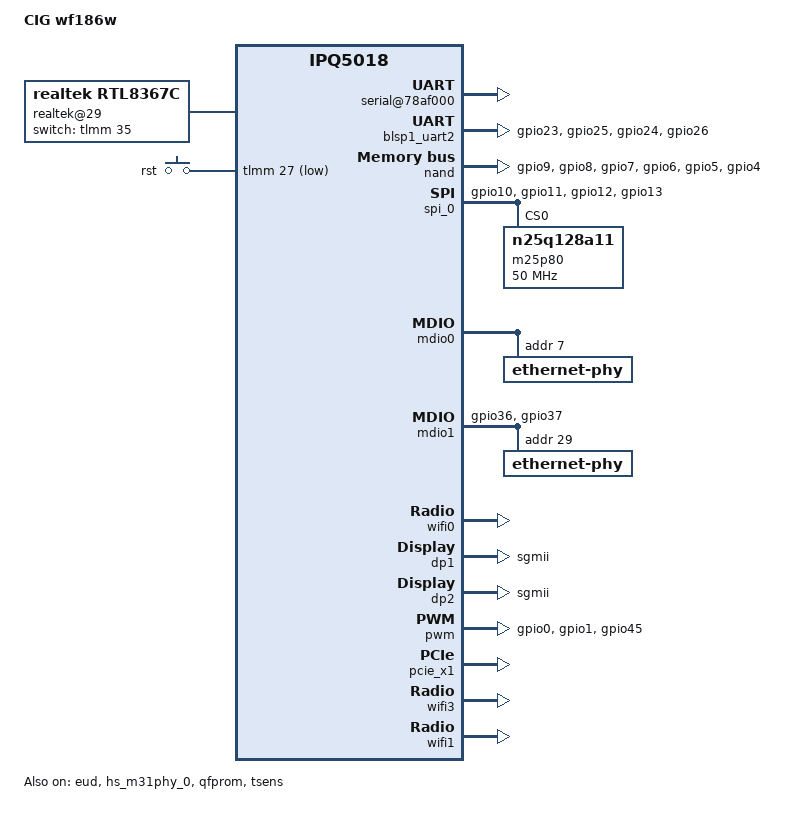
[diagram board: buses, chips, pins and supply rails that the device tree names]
/dts-v1/;
/* Copyright (c) 2018-2020, The Linux Foundation. All rights reserved.
 *
 * Permission to use, copy, modify, and/or distribute this software for any
 * purpose with or without fee is hereby granted, provided that the above
 * copyright notice and this permission notice appear in all copies.
 *
 * THE SOFTWARE IS PROVIDED "AS IS" AND THE AUTHOR DISCLAIMS ALL WARRANTIES
 * WITH REGARD TO THIS SOFTWARE INCLUDING ALL IMPLIED WARRANTIES OF
 * MERCHANTABILITY AND FITNESS. IN NO EVENT SHALL THE AUTHOR BE LIABLE FOR
 * ANY SPECIAL, DIRECT, INDIRECT, OR CONSEQUENTIAL DAMAGES OR ANY DAMAGES
 * WHATSOEVER RESULTING FROM LOSS OF USE, DATA OR PROFITS, WHETHER IN AN
 * ACTION OF CONTRACT, NEGLIGENCE OR OTHER TORTIOUS ACTION, ARISING OUT OF
 * OR IN CONNECTION WITH THE USE OR PERFORMANCE OF THIS SOFTWARE.
 */

#include "qcom-ipq5018.dtsi"

/ {
	#address-cells = <0x2>;
	#size-cells = <0x2>;
	model = "CIG wf186w";
	compatible = "cig,wf186w","qcom,ipq5018-mp03.3", "qcom,ipq5018";
	interrupt-parent = <&intc>;

	aliases {
		sdhc1 = &sdhc_1; /* SDC1 eMMC slot */
		serial0 = &blsp1_uart1;
		serial1 = &blsp1_uart2;
		ethernet0 = "/soc/dp1";
		ethernet1 = "/soc/dp2";
	};

	chosen {
		bootargs = "console=ttyMSM0,115200,n8 rw init=/init";
	#ifdef __IPQ_MEM_PROFILE_256_MB__
		bootargs-append = " swiotlb=1";
	#else
		bootargs-append = " swiotlb=1 coherent_pool=2M";
	#endif
		stdout-path = "serial0";
	};

	reserved-memory {
	#ifdef __IPQ_MEM_PROFILE_256_MB__
	/*            256 MB Profile
	 * +=========+==============+========================+
	 * |        |              |                         |
	 * | Region | Start Offset |          Size           |
	 * |        |              |                         |
	 * +--------+--------------+-------------------------+
	 * |        |              |                         |
	 * |        |              |                         |
	 * |  NSS   |  0x40000000  |          8MB            |
	 * |        |              |                         |
	 * |        |              |                         |
	 * +--------+--------------+-------------------------+
	 * |        |              |                         |
	 * |        |              |                         |
	 * |        |              |                         |
	 * |        |              |                         |
	 * | Linux  |  0x40800000  | Depends on total memory |
	 * |        |              |                         |
	 * |        |              |                         |
	 * |        |              |                         |
	 * +        |              |                         |
	 * +--------+--------------+-------------------------+
	 * |        |              |                         |
	 * | uboot  |  0x4A600000  |           4MB           |
	 * |        |              |                         |
	 * +--------+--------------+-------------------------+
	 * |  SBL   |  0x4AA00000  |           1MB           |
	 * +--------+--------------+-------------------------+
	 * |  smem  |  0x4AB00000  |           1MB           |
	 * +--------+--------------+-------------------------+
	 * |        |              |                         |
	 * |   TZ   |  0x4AC00000  |           4MB           |
	 * |        |              |                         |
	 * +--------+--------------+-------------------------+
	 * |        |              |                         |
	 * |        |              |                         |
	 * |        |              |                         |
	 * |   Q6   |  0x4B000000  |          16MB           |
	 * |  code/ |              |                         |
	 * |  data  |              |                         |
	 * +--------+--------------+-------------------------+
	 * |        |              |                         |
	 * |IPQ5018 |  0x4C000000  |          13MB           |
	 * |  data  |              |                         |
	 * +--------+--------------+-------------------------+
	 * | M3 Dump|  0x4CD00000  |           1MB           |
	 * +--------+--------------+-------------------------+
	 * |  QDSS  |  0x4CE00000  |           1MB           |
	 * +--------+--------------+-------------------------+
	 * |QCN6122 |  0x4CF00000  |          15MB           |
	 * |  data  |              |                         |
	 * +--------+--------------+-------------------------+
	 * | M3 Dump|  0x4DE00000  |           1MB           |
	 * +--------+--------------+-------------------------+
	 * |  QDSS  |  0x4DF00000  |           1MB           |
	 * +--------+--------------+-------------------------+
	 * |        |              |                         |
	 * |QCN9000 |  0x4E000000  |          17MB           |
	 * |        |              |                         |
	 * +--------+--------------+-------------------------+
	 * |        |              |                         |
	 * |  MHI1  |  0x4F100000  |          16MB           |
	 * |        |              |                         |
	 * +--------+--------------+-------------------------+
	 * |                                                 |
	 * |      Rest of the memory for Linux               |
	 * |                                                 |
	 * +=================================================+
	 */

		q6_mem_regions: q6_mem_regions@4B000000 {
			no-map;
			reg = <0x0 0x4B000000 0x0 0x3000000>;
		};

		q6_code_data: q6_code_data@4B000000 {
			no-map;
			reg = <0x0 0x4B000000 0x0 01000000>;
		};

		q6_ipq5018_data: q6_ipq5018_data@4c000000 {
			no-map;
			reg = <0x0 0x4c000000 0x0 0xD00000>;
		};

		m3_dump: m3_dump@4CD00000 {
			no-map;
			reg = <0x0 0x4CD00000 0x0 0x100000>;
		};

		q6_etr_region:q6_etr_dump@4CE00000 {
			no-map;
			reg = <0x0 0x4CE00000 0x0 0x100000>;
		};

		q6_qcn6122_data1: q6_qcn6122_data1@4CF00000 {
			no-map;
			reg = <0x0 0x4CF00000 0x0 0xF00000>;
		};

		m3_dump_qcn6122_1: m3_dump_qcn6122_1@4DE00000 {
			no-map;
			reg = <0x0 0x4DE00000 0x0 0x100000>;
		};

		q6_qcn6122_etr_1: q6_qcn6122_etr_1@4DF00000 {
			no-map;
			reg = <0x0 0x4DF00000 0x0 0x100000>;
		};

		q6_qcn9000_region: qcn9000_pcie0@4E000000 {
			no-map;
			reg = <0x0 0x4E000000 0x0 0x01100000>;
		};

		mhi_region1: dma_pool1@4F100000 {
			compatible = "shared-dma-pool";
			no-map;
			reg = <0x0 0x4F100000 0x0 0x01000000>;
		};
	#elif __IPQ_MEM_PROFILE_512_MB__
	/*                      512 MB Profile
	 * +=========+==============+========================+
	 * |        |              |                         |
	 * | Region | Start Offset |          Size           |
	 * |        |              |                         |
	 * +--------+--------------+-------------------------+
	 * |        |              |                         |
	 * |        |              |                         |
	 * |  NSS   |  0x40000000  |          16MB           |
	 * |        |              |                         |
	 * |        |              |                         |
	 * +--------+--------------+-------------------------+
	 * |        |              |                         |
	 * |        |              |                         |
	 * |        |              |                         |
	 * |        |              |                         |
	 * | Linux  |  0x41000000  | Depends on total memory |
	 * |        |              |                         |
	 * |        |              |                         |
	 * |        |              |                         |
	 * |        |              |                         |
	 * +--------+--------------+-------------------------+
	 * |        |              |                         |
	 * | uboot  |  0x4A600000  |           4MB           |
	 * |        |              |                         |
	 * +--------+--------------+-------------------------+
	 * |  SBL   |  0x4AA00000  |           1MB           |
	 * +--------+--------------+-------------------------+
	 * |  smem  |  0x4AB00000  |           1MB           |
	 * +--------+--------------+-------------------------+
	 * |        |              |                         |
	 * |   TZ   |  0x4AC00000  |           4MB           |
	 * |        |              |                         |
	 * +--------+--------------+-------------------------+
	 * |        |              |                         |
	 * |        |              |                         |
	 * |   Q6   |  0x4B000000  |          16MB           |
	 * |  code/ |              |                         |
	 * |  data  |              |                         |
	 * +--------+--------------+-------------------------+
	 * |        |              |                         |
	 * |IPQ5018 |  0x4C000000  |          14MB           |
	 * |  data  |              |                         |
	 * +--------+--------------+-------------------------+
	 * | M3 Dump|  0x4CE00000  |           1MB           |
	 * +--------+--------------+-------------------------+
	 * |  QDSS  |  0x4CF00000  |           1MB           |
	 * +--------+--------------+-------------------------+
	 * | caldb  |  0x4D000000  |           2MB           |
	 * +--------+--------------+-------------------------+
	 * |QCN6122 |  0x4D200000  |          16MB           |
	 * |  data  |              |                         |
	 * +--------+--------------+-------------------------+
	 * | M3 Dump|  0x4E200000  |           1MB           |
	 * +--------+--------------+-------------------------+
	 * |  QDSS  |  0x4E300000  |           1MB           |
	 * +--------+--------------+-------------------------+
	 * | caldb  |  0x4E400000  |           5MB           |
	 * +--------+--------------+-------------------------+
	 * |        |              |                         |
	 * |QCN9000 |  0x4E900000  |          30MB           |
	 * |        |              |                         |
	 * +--------+--------------+-------------------------+
	 * |        |              |                         |
	 * |  MHI1  |  0x50700000  |          16MB           |
	 * |        |              |                         |
	 * +--------+--------------+-------------------------+
	 * |                                                 |
	 * |      Rest of the memory for Linux               |
	 * |                                                 |
	 * +=================================================+
	 */

		q6_mem_regions: q6_mem_regions@4B000000 {
			no-map;
			reg = <0x0 0x4B000000 0x0 0x3900000>;
		};

		q6_code_data: q6_code_data@4B000000 {
			no-map;
			reg = <0x0 0x4B000000 0x0 01000000>;
		};

		q6_ipq5018_data: q6_ipq5018_data@4C000000 {
			no-map;
			reg = <0x0 0x4C000000 0x0 0xE00000>;
		};

		m3_dump: m3_dump@4CE00000 {
			no-map;
			reg = <0x0 0x4CE00000 0x0 0x100000>;
		};

		q6_etr_region: q6_etr_dump@4CF00000 {
			no-map;
			reg = <0x0 0x4CF00000 0x0 0x100000>;
		};

		q6_caldb_region: q6_caldb_region@4D000000 {
			no-map;
			reg = <0x0 0x4D000000 0x0 0x200000>;
		};

		q6_qcn6122_data1: q6_qcn6122_data1@4D200000 {
			no-map;
			reg = <0x0 0x4D200000 0x0 0x1000000>;
		};

		m3_dump_qcn6122_1: m3_dump_qcn6122_1@4E200000 {
			no-map;
			reg = <0x0 0x4E200000 0x0 0x100000>;
		};

		q6_qcn6122_etr_1: q6_qcn6122_etr_1@4E300000 {
			no-map;
			reg = <0x0 0x4E300000 0x0 0x100000>;
		};

		q6_qcn6122_caldb_1: q6_qcn6122_caldb_1@4E400000 {
			no-map;
			reg = <0x0 0x4E400000 0x0 0x500000>;
		};

		q6_qcn9000_region: qcn9000_pcie0@4E900000 {
			no-map;
			reg = <0x0 0x4E900000 0x0 0x01E00000>;
		};

		mhi_region1: dma_pool1@50700000 {
			compatible = "shared-dma-pool";
			no-map;
			reg = <0x0 0x50700000 0x0 0x01000000>;
		};
	#else
	/*                      1G Profile
	 * +=========+==============+========================+
	 * |        |              |                         |
	 * | Region | Start Offset |          Size           |
	 * |        |              |                         |
	 * +--------+--------------+-------------------------+
	 * |        |              |                         |
	 * |        |              |                         |
	 * |  NSS   |  0x40000000  |          16MB           |
	 * |        |              |                         |
	 * |        |              |                         |
	 * +--------+--------------+-------------------------+
	 * |        |              |                         |
	 * |        |              |                         |
	 * |        |              |                         |
	 * |        |              |                         |
	 * | Linux  |  0x41000000  | Depends on total memory |
	 * |        |              |                         |
	 * |        |              |                         |
	 * |        |              |                         |
	 * |        |              |                         |
	 * +--------+--------------+-------------------------+
	 * |        |              |                         |
	 * | uboot  |  0x4A600000  |           4MB           |
	 * |        |              |                         |
	 * +--------+--------------+-------------------------+
	 * |  SBL   |  0x4AA00000  |           1MB           |
	 * +--------+--------------+-------------------------+
	 * |  smem  |  0x4AB00000  |           1MB           |
	 * +--------+--------------+-------------------------+
	 * |        |              |                         |
	 * |   TZ   |  0x4AC00000  |           4MB           |
	 * |        |              |                         |
	 * +--------+--------------+-------------------------+
	 * |        |              |                         |
	 * |        |              |                         |
	 * |   Q6   |  0x4B000000  |          16MB           |
	 * |  code/ |              |                         |
	 * |  data  |              |                         |
	 * +--------+--------------+-------------------------+
	 * |        |              |                         |
	 * |IPQ5018 |  0x4C000000  |          14MB           |
	 * |  data  |              |                         |
	 * +--------+--------------+-------------------------+
	 * | M3 Dump|  0x4CE00000  |           1MB           |
	 * +--------+--------------+-------------------------+
	 * |  QDSS  |  0x4CF00000  |           1MB           |
	 * +--------+--------------+-------------------------+
	 * | caldb  |  0x4D000000  |           2MB           |
	 * +--------+--------------+-------------------------+
	 * |QCN6122 |  0x4D200000  |          16MB           |
	 * |  data  |              |                         |
	 * +--------+--------------+-------------------------+
	 * | M3 Dump|  0x4E200000  |           1MB           |
	 * +--------+--------------+-------------------------+
	 * |  QDSS  |  0x4E300000  |           1MB           |
	 * +--------+--------------+-------------------------+
	 * | caldb  |  0x4E400000  |           5MB           |
	 * +--------+--------------+-------------------------+
	 * |        |              |                         |
	 * |QCN9000 |  0x4E900000  |          45MB           |
	 * |        |              |                         |
	 * +--------+--------------+-------------------------+
	 * |        |              |                         |
	 * |  MHI1  |  0x51600000  |          24MB           |
	 * |        |              |                         |
	 * +--------+--------------+-------------------------+
	 * |                                                 |
	 * |      Rest of the memory for Linux               |
	 * |                                                 |
	 * +=================================================+
	 */

		q6_mem_regions: q6_mem_regions@4B000000 {
			no-map;
			reg = <0x0 0x4B000000 0x0 0x3900000>;
		};

		q6_code_data: q6_code_data@4B000000 {
			no-map;
			reg = <0x0 0x4B000000 0x0 01000000>;
		};

		q6_ipq5018_data: q6_ipq5018_data@4C000000 {
			no-map;
			reg = <0x0 0x4C000000 0x0 0xE00000>;
		};

		m3_dump: m3_dump@4CE00000 {
			no-map;
			reg = <0x0 0x4CE00000 0x0 0x100000>;
		};

		q6_etr_region: q6_etr_dump@4CF00000 {
			no-map;
			reg = <0x0 0x4CF00000 0x0 0x100000>;
		};

		q6_caldb_region: q6_caldb_region@4D000000 {
			no-map;
			reg = <0x0 0x4D000000 0x0 0x200000>;
		};

		q6_qcn6122_data1: q6_qcn6122_data1@4D200000 {
			no-map;
			reg = <0x0 0x4D200000 0x0 0x1000000>;
		};

		m3_dump_qcn6122_1: m3_dump_qcn6122_1@4E200000 {
			no-map;
			reg = <0x0 0x4E200000 0x0 0x100000>;
		};

		q6_qcn6122_etr_1: q6_qcn6122_etr_1@4E300000 {
			no-map;
			reg = <0x0 0x4E300000 0x0 0x100000>;
		};

		q6_qcn6122_caldb_1: q6_qcn6122_caldb_1@4E400000 {
			no-map;
			reg = <0x0 0x4E400000 0x0 0x500000>;
		};

		q6_qcn9000_region: qcn9000_pcie0@4E900000 {
			no-map;
			reg = <0x0 0x4E900000 0x0 0x02D00000>;
		};

		mhi_region1: dma_pool1@51600000 {
			compatible = "shared-dma-pool";
			no-map;
			reg = <0x0 0x51600000 0x0 0x01800000>;
		};
	#endif
	};

	soc {
		serial@78af000 {
			status = "ok";
		};

		blsp1_uart2: serial@78b0000 {
			pinctrl-0 = <&blsp1_uart_pins>;
			pinctrl-names = "default";
			status = "ok";
		};

		qpic_bam: dma@7984000{
			status = "ok";
		};

		nand: qpic-nand@79b0000 {
			pinctrl-0 = <&qspi_nand_pins>;
			pinctrl-names = "default";
			status = "ok";
		};

		spi_0: spi@78b5000 { /* BLSP1 QUP0 */
			pinctrl-0 = <&blsp0_spi_pins>;
			pinctrl-names = "default";
			cs-select = <0>;
			status = "ok";

			m25p80@0 {
				#address-cells = <1>;
				#size-cells = <1>;
				reg = <0>;
				compatible = "n25q128a11";
				linux,modalias = "m25p80", "n25q128a11";
				spi-max-frequency = <50000000>;
				use-default-sizes;
			};
		};

		mdio0: mdio@88000 {
			status = "ok";

			ethernet-phy@0 {
				reg = <7>;
			};
		};

		mdio1: mdio@90000 {
			status = "ok";
			pinctrl-0 = <&mdio1_pins>;
			pinctrl-names = "default";
			phy-reset-gpio = <&tlmm 35 0>;

			ethernet-phy@0 {
				reg = <0x1d>;
			};
		};

		realtek@29{
			compatible = "realtek,rtl8367c";
			mii-bus = <&mdio1>;
			realtek,extif0 = <0 0 12 1 0 1 1 1 1 2>;
			switch = <&tlmm 35 0>;
			phy-addr = <29>;
                        status = "ok";
		};
		ess-instance {
			num_devices = <0x1>;
			ess-switch@0x39c00000 {
				compatible = "qcom,ess-switch-ipq50xx";
				device_id = <0>;
				switch_mac_mode = <0xf>; /* mac mode for uniphy instance*/
				cmnblk_clk = "internal_96MHz"; /* cmnblk clk*/
				qcom,port_phyinfo {
					port@0 {
						port_id = <1>;
						phy_address = <7>;
					};
					port@1 {
						port_id = <2>;
						forced-speed = <1000>;
						forced-duplex = <1>;
					};
				};
				led_source@0 {
					source = <0>;
					mode = "normal";
					speed = "all";
					blink_en = "enable";
					active = "high";
				};
			};
		};

		wifi0: wifi@c000000 {
			status = "ok";
		};

		dp1 {
			device_type = "network";
			compatible = "qcom,nss-dp";
			clocks = <&gcc GCC_SNOC_GMAC0_AXI_CLK>;
			clock-names = "nss-snoc-gmac-axi-clk";
			qcom,id = <1>;
			reg = <0x39C00000 0x10000>;
			interrupts = <GIC_SPI 101 IRQ_TYPE_LEVEL_HIGH>;
			qcom,mactype = <2>;
			qcom,link-poll = <1>;
			qcom,phy-mdio-addr = <7>;
			mdio-bus = <&mdio0>;
			local-mac-address = [000000000000];
			phy-mode = "sgmii";
		};

		dp2 {
			device_type = "network";
			compatible = "qcom,nss-dp";
			clocks = <&gcc GCC_SNOC_GMAC1_AXI_CLK>;
			clock-names = "nss-snoc-gmac-axi-clk";
			qcom,id = <2>;
			reg = <0x39D00000 0x10000>;
			interrupts = <GIC_SPI 109 IRQ_TYPE_LEVEL_HIGH>;
			qcom,mactype = <2>;
			local-mac-address = [000000000000];
			phy-mode = "sgmii";
		};

		qcom,test@0 {
			status = "ok";
		};

		lpass: lpass@0xA000000{
			status = "disabled";
		};

		pcm: pcm@0xA3C0000{
			pinctrl-0 = <&audio_pins>;
			pinctrl-names = "default";
			status = "disabled";
		};

		gpio_keys {
			compatible = "gpio-keys";
			pinctrl-0 = <&button_pins>;
			pinctrl-names = "default";

			button@1 {
				label = "rst";
				linux,code = <KEY_RESTART>;
				gpios = <&tlmm 27 GPIO_ACTIVE_LOW>;
				linux,input-type = <1>;
				debounce-interval = <60>;
			};
		};
		pcm_lb: pcm_lb@0 {
			status = "disabled";
		};
	};

	thermal-zones {
		status = "ok";
	};
};

&tlmm {
	pinctrl-0 = <&blsp0_uart_pins &phy_led_pins>;
	pinctrl-names = "default";

	blsp0_uart_pins: uart_pins {
		blsp0_uart_rx_tx {
			pins = "gpio31", "gpio32", "gpio33", "gpio34";
			function = "blsp0_uart1";
			bias-disable;
		};
	};

	blsp1_uart_pins: blsp1_uart_pins {
		blsp1_uart_rx_tx {
			pins = "gpio23", "gpio25", "gpio24", "gpio26";
			function = "blsp1_uart2";
			bias-disable;
		};
	};

	blsp0_spi_pins: blsp0_spi_pins {
		mux {
			pins = "gpio10", "gpio11", "gpio12", "gpio13";
			function = "blsp0_spi";
			drive-strength = <2>;
			bias-disable;
		};
	};

	qspi_nand_pins: qspi_nand_pins {
		qspi_clock {
				pins = "gpio9";
				function = "qspi_clk";
				drive-strength = <8>;
				bias-disable;
			};
		qspi_cs {
				pins = "gpio8";
				function = "qspi_cs";
				drive-strength = <8>;
				bias-disable;
			};
		qspi_data_0 {
				pins = "gpio7";
				function = "qspi0";
				drive-strength = <8>;
				bias-disable;
			};
		qspi_data_1 {
				pins = "gpio6";
				function = "qspi1";
				drive-strength = <8>;
				bias-disable;
			};
		qspi_data_2 {
				pins = "gpio5";
				function = "qspi2";
				drive-strength = <8>;
				bias-disable;
			};
		qspi_data_3 {
				pins = "gpio4";
				function = "qspi3";
				drive-strength = <8>;
				bias-disable;
			};
	};

	mdio1_pins: mdio_pinmux {
		mux_0 {
			pins = "gpio36";
			function = "mdc";
			drive-strength = <8>;
			bias-pull-up;
		};

		mux_1 {
			pins = "gpio37";
			function = "mdio";
			drive-strength = <8>;
			bias-pull-up;
		};
	};

	phy_led_pins: phy_led_pins {
		gephy_led_pin {
			pins = "gpio46";
			function = "led0";
			drive-strength = <8>;
			bias-pull-down;
		};
	};

	i2c_pins: i2c_pins {
		i2c_scl {
			pins = "gpio25";
			function = "blsp2_i2c1";
			drive-strength = <8>;
			bias-disable;
		};

		i2c_sda {
			pins = "gpio26";
			function = "blsp2_i2c1";
			drive-strength = <8>;
			bias-disable;
		};
	};

	button_pins: button_pins {
		wps_button {
			pins = "gpio38";
			function = "gpio";
			drive-strength = <8>;
			bias-pull-up;
		};
		rst_button {
			pins = "gpio27";
			function = "gpio";
			drive-strength = <8>;
			bias-pull-up;
		};

	};
	audio_pins: audio_pinmux {
		mux_1 {
			pins = "gpio24";
			function = "audio_rxbclk";
			drive-strength = <8>;
			bias-pull-down;
		};

		mux_2 {
			pins = "gpio25";
			function = "audio_rxfsync";
			drive-strength = <8>;
			bias-pull-down;
		};

		mux_5 {
			pins = "gpio28";
			function = "audio_txbclk";
			drive-strength = <8>;
			bias-pull-down;
		};

	};
	
	pwm_pins: pwm_pinmux {
	        mux_1 {
	            pins = "gpio0";
	            function = "pwm10";
	            drive-strength = <8>;
	        };
		mux_2 {
				pins = "gpio1";
				function = "pwm20";
				drive-strength = <8>;
			};
		mux_3 {
				pins = "gpio45";
				function = "pwm3";
				drive-strength = <8>;
			};
	};

};

&soc {

	 pwm: pwm@0x1941010 {
	        pinctrl-0 = <&pwm_pins>;
	        pinctrl-names = "default";
	        used-pwm-indices = <1>, <1>, <1>, <1>;
		dft-pwm-status = <1>, <0>, <0>, <0>;
	        status = "ok";
        };
};

&usb3 {
	status = "disabled";
	device-power-gpio = <&tlmm 24 1>;
};

&eud {
	status = "ok";
};

&pcie_x1 {
	status = "ok";
	perst-gpio = <&tlmm 18 1>;
};

&pcie_x2 {
	status = "disabled";
	perst-gpio = <&tlmm 15 1>;
};

&dwc_0 {
	/delete-property/ #phy-cells;
	/delete-property/ phys;
	/delete-property/ phy-names;
};

&hs_m31phy_0 {
	status = "ok";
};

&pcie_x1phy {
	status = "disabled";
};

&pcie_x2phy {
	status = "disabled";
};

&pcie_x1_rp {
        status = "disabled";

	mhi_0: qcom,mhi@0 {
		reg = <0 0 0 0 0 >;
	};
};

&pcie_x2_rp {
        status = "disabled";

	mhi_1: qcom,mhi@1 {
		reg = <0 0 0 0 0 >;
		qrtr_instance_id = <0x21>;
		#address-cells = <0x2>;
		#size-cells = <0x2>;
		memory-region = <&mhi_region1>;
#if !defined(__CNSS2__)
		base-addr = <0x4E900000>;
		m3-dump-addr = <0x4FD00000>;
		etr-addr = <0x4FE00000>;
		qcom,caldb-addr = <0x4FF00000>;
		qcom,tgt-mem-mode = <0x1>;
		mhi,max-channels = <30>;
		mhi,timeout = <10000>;
		qcom,board_id = <0xa4>;
#endif
	};
};

&wifi3 {
	status = "ok";
};

&qfprom {
	status = "ok";
};

&tsens {
	status = "ok";
};

&qcom_q6v5_wcss {
	qcom,multipd_arch;
	memory-region = <&q6_mem_regions>;
	qcom,share_bootargs;
	qcom,bootargs_smem = <507>;
	boot-args = <0x2 0x4 0x2 0x12 0x0 0x0>;

	/* IPQ5018 */
	q6v5_wcss_userpd1 {
		m3_firmware = "IPQ5018/m3_fw.mdt";
		interrupts-extended = <&wcss_smp2p_in 8 0>,
			<&wcss_smp2p_in 9 0>,
			<&wcss_smp2p_in 12 0>,
			<&wcss_smp2p_in 11 0>;
		interrupt-names ="fatal",
			"ready",
			"spawn_ack",
			"stop-ack";
		qcom,smem-states = <&wcss_smp2p_out 8>,
			<&wcss_smp2p_out 9>,
			<&wcss_smp2p_out 10>;
		qcom,smem-state-names = "shutdown",
			"stop",
			"spawn";
		qca,asid = <1>;
		qca,auto-restart;
		qca,int_radio;
		#ifdef __IPQ_MEM_PROFILE_256_MB__
		memory-region = <&q6_ipq5018_data>, <&m3_dump>,
				<&q6_etr_region>;
		#else
		memory-region = <&q6_ipq5018_data>, <&m3_dump>,
				<&q6_etr_region>, <&q6_caldb_region>;
		#endif
	};

	/* QCN6122 5G */
	q6v5_wcss_userpd2 {
		m3_firmware = "qcn6122/m3_fw.mdt";
		interrupts-extended = <&wcss_smp2p_in 16 0>,
			<&wcss_smp2p_in 17 0>,
			<&wcss_smp2p_in 20 0>,
			<&wcss_smp2p_in 19 0>;
		interrupt-names ="fatal",
			"ready",
			"spawn_ack",
			"stop-ack";
		qcom,smem-states = <&wcss_smp2p_out 16>,
			<&wcss_smp2p_out 17>,
			<&wcss_smp2p_out 18>;
		qcom,smem-state-names = "shutdown",
			"stop",
			"spawn";
		qca,asid = <2>;
		qca,auto-restart;
		#ifdef __IPQ_MEM_PROFILE_256_MB__
		memory-region = <&q6_qcn6122_data1>, <&m3_dump_qcn6122_1>,
				<&q6_qcn6122_etr_1>;
		#else
		memory-region = <&q6_qcn6122_data1>, <&m3_dump_qcn6122_1>,
				<&q6_qcn6122_etr_1>, <&q6_qcn6122_caldb_1>;
		#endif
	};
};

&i2c_0 {
	pinctrl-0 = <&i2c_pins>;
	pinctrl-names = "default";
	status = "disabled";
};

&qgic_msi_0 {
	status = "ok";
};

&wifi0 {
	/* IPQ5018 */
	qcom,multipd_arch;
#ifdef __IPQ_MEM_PROFILE_256_MB__
	qcom,tgt-mem-mode = <2>;
#else
	qcom,tgt-mem-mode = <1>;
#endif
	qcom,board_id = <0x24>;
	qcom,bdf-addr = <0x0 0x4C000000 0x4C000000 0x0 0x0>;
#ifdef __CNSS2__
	qcom,caldb-addr = <0x0 0x4D000000 0 0 0>;
#else
	qcom,caldb-addr = <0x4D000000>;
	m3-dump-addr = <0x4CE00000>;
#endif
	qcom,caldb-size = <0x200000>;
	qcom,userpd-subsys-name = "q6v5_wcss_userpd1";
	status = "ok";
};

&wifi1 {
	/* QCN6122 5G */
	qcom,multipd_arch;
#ifdef __IPQ_MEM_PROFILE_256_MB__
	qcom,tgt-mem-mode = <2>;
#else
	qcom,tgt-mem-mode = <1>;
#endif
	qcom,board_id = <0x60>;
	qcom,bdf-addr = <0x0 0x4D200000 0x4CF00000 0x0 0x0>;
#ifdef __CNSS2__
	qcom,caldb-addr = <0x0 0x4E400000 0 0 0>;
#else
	qcom,caldb-addr = <0x4E400000>;
	m3-dump-addr = <0x4E200000>;
#endif
	qcom,caldb-size = <0x500000>;
	qcom,userpd-subsys-name = "q6v5_wcss_userpd2";
	status = "ok";
};
